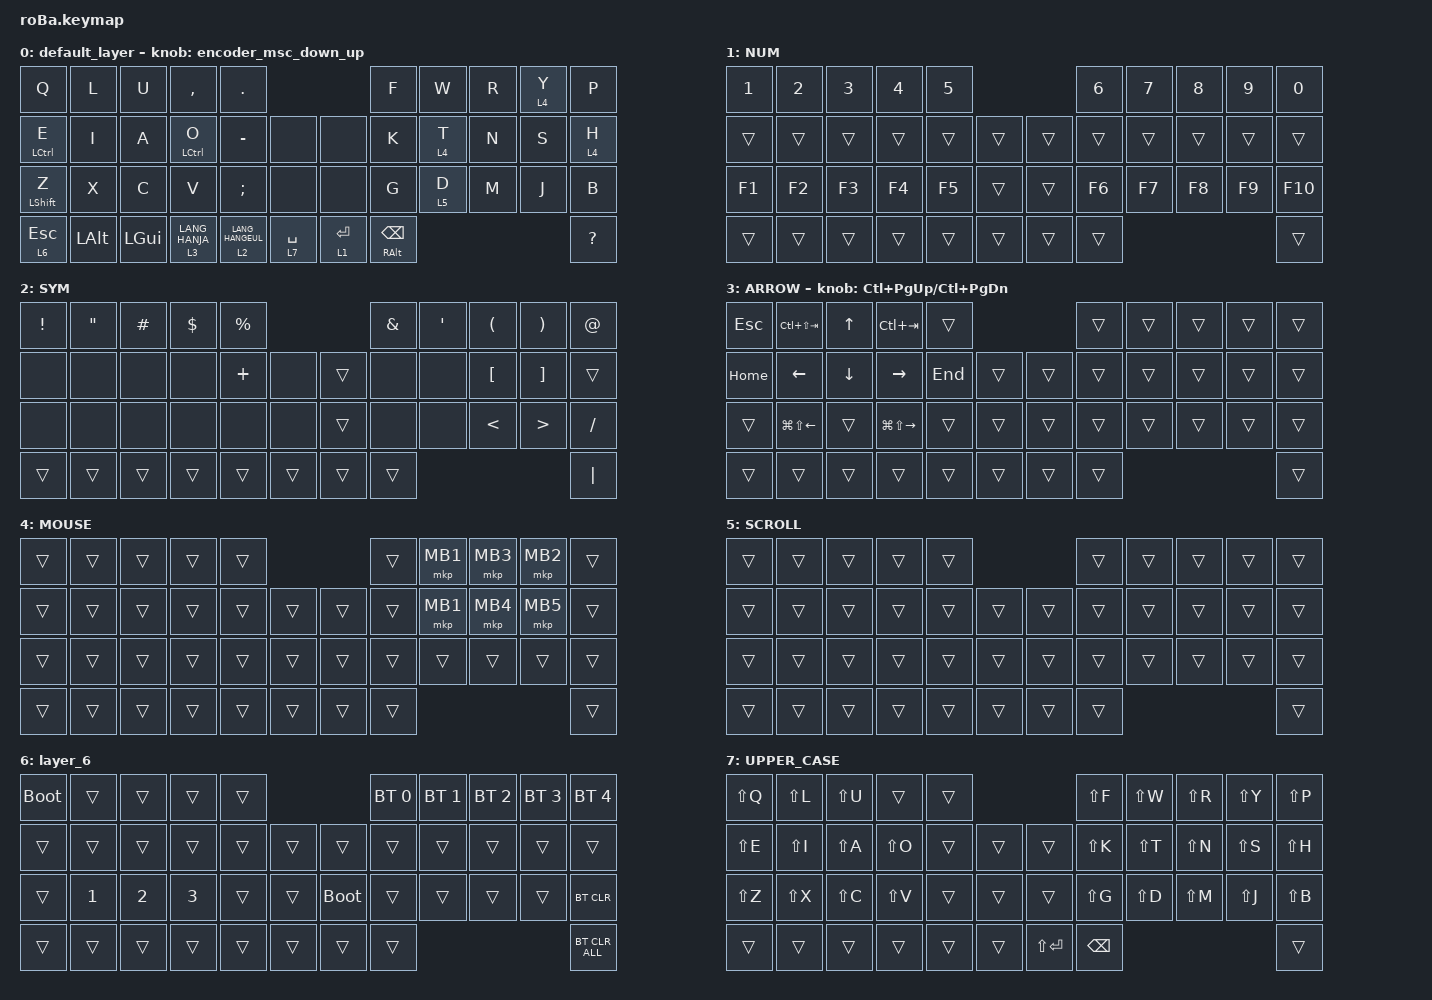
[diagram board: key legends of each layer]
#include <behaviors.dtsi>
#include <dt-bindings/zmk/bt.h>
#include <dt-bindings/zmk/keys.h>
#include <dt-bindings/zmk/pointing.h>

#define ZMK_POINTING_DEFAULT_SCRL_VAL 80
#define MOUSE 4
#define SCROLL 5
#define NUM 6

&mt {
    flavor = "balanced";
    quick-tap-ms = <0>;
};

/ {
    combos {
        compatible = "zmk,combos";

        tab {
            bindings = <&kp TAB>;
            key-positions = <11 12>;
        };

        shift_tab {
            bindings = <&kp LS(TAB)>;
            key-positions = <12 13>;
        };
    };

    macros {
        to_layer_0: to_layer_0 {
            compatible = "zmk,behavior-macro-one-param";
            #binding-cells = <1>;
            bindings = <&to 0 &macro_param_1to1 &kp MACRO_PLACEHOLDER>;
            label = "TO_LAYER_0";
        };

        to_layer_0_hold_modifier: to_layer_0_hold_modifier {
            compatible = "zmk,behavior-macro";
            #binding-cells = <0>;
            bindings = <&to 0>, <&macro_press>, <&kp LEFT_WIN>;

            label = "to_layer_0_hold_modifier";
        };
    };

    behaviors {
        lt_to_layer_0: lt_to_layer_0 {
            compatible = "zmk,behavior-hold-tap";
            label = "LAYER_TAP_TO_0";
            bindings = <&mo>, <&to_layer_0>;

            #binding-cells = <2>;
            tapping-term-ms = <200>;
        };

        encoder_msc_down_up: encoder_msc_down_up {
            compatible = "zmk,behavior-sensor-rotate";
            label = "ENCODER_MSC_DOWN_UP";
            #sensor-binding-cells = <0>;
            bindings = <&msc SCRL_DOWN>, <&msc SCRL_UP>;

            tap-ms = <20>;
        };
    };

    keymap {
        compatible = "zmk,keymap";

        default_layer {
            bindings = <
&kp Q               &kp L         &kp U         &kp COMMA                    &kp PERIOD                                                   &kp F                    &kp W    &kp R  &lt 4 Y  &kp P
&mt LEFT_CONTROL E  &kp I         &kp A         &mt LEFT_CONTROL O           &kp MINUS                      &none            &none        &kp K                    &lt 4 T  &kp N  &kp S    &lt 4 H
&mt LEFT_SHIFT Z    &kp X         &kp C         &kp V                        &kp SEMI                       &none            &none        &kp G                    &lt 5 D  &kp M  &kp J    &kp B
&lt 6 ESCAPE        &kp LEFT_ALT  &kp LEFT_GUI  &lt_to_layer_0 3 LANG_HANJA  &lt_to_layer_0 2 LANG_HANGEUL  &lt 7 SPACE      &lt 1 ENTER  &mt RIGHT_ALT BACKSPACE                           &kp QUESTION
            >;

            sensor-bindings = <&encoder_msc_down_up>;
        };

        NUM {
            bindings = <
&kp NUMBER_1  &kp NUMBER_2  &kp NUMBER_3  &kp NUMBER_4  &kp N5                      &kp NUMBER_6  &kp N7  &kp N8  &kp N9  &kp N0
&trans        &trans        &trans        &trans        &trans  &trans      &trans  &trans        &trans  &trans  &trans  &trans
&kp F1        &kp F2        &kp F3        &kp F4        &kp F5  &trans      &trans  &kp F6        &kp F7  &kp F8  &kp F9  &kp F10
&trans        &trans        &trans        &trans        &trans  &trans      &trans  &trans                                &trans
            >;
        };

        SYM {
            bindings = <
&kp EXCLAMATION  &kp DOUBLE_QUOTES  &kp HASH  &kp DOLLAR  &kp PERCENT                      &kp AMPERSAND  &kp SINGLE_QUOTE  &kp LEFT_PARENTHESIS  &kp RIGHT_PARENTHESIS  &kp AT_SIGN
&none            &none              &none     &none       &kp PLUS     &none       &trans  &none          &none             &kp LEFT_BRACKET      &kp RIGHT_BRACKET      &trans
&none            &none              &none     &none       &none        &none       &trans  &none          &none             &kp LESS_THAN         &kp GREATER_THAN       &kp SLASH
&trans           &trans             &trans    &trans      &trans       &trans      &trans  &trans                                                                        &kp PIPE
            >;
        };

        ARROW {
            bindings = <
&kp ESCAPE  &kp LC(LS(TAB))         &kp UP_ARROW    &kp LC(TAB)              &trans                       &trans  &trans  &trans  &trans  &trans
&kp HOME    &kp LEFT_ARROW          &kp DOWN_ARROW  &kp RIGHT_ARROW          &kp END  &trans      &trans  &trans  &trans  &trans  &trans  &trans
&trans      &kp LG(LS(LEFT_ARROW))  &trans          &kp LG(LS(RIGHT_ARROW))  &trans   &trans      &trans  &trans  &trans  &trans  &trans  &trans
&trans      &trans                  &trans          &trans                   &trans   &trans      &trans  &trans                          &trans
            >;

            sensor-bindings = <&inc_dec_kp LC(PAGE_UP) LC(PAGE_DOWN)>;
        };

        MOUSE {
            bindings = <
&trans  &trans  &trans  &trans  &trans                      &trans  &mkp MB1  &mkp MB3  &mkp MB2  &trans
&trans  &trans  &trans  &trans  &trans  &trans      &trans  &trans  &mkp MB1  &mkp MB4  &mkp MB5  &trans
&trans  &trans  &trans  &trans  &trans  &trans      &trans  &trans  &trans    &trans    &trans    &trans
&trans  &trans  &trans  &trans  &trans  &trans      &trans  &trans                                &trans
            >;
        };

        SCROLL {
            bindings = <
&trans  &trans  &trans  &trans  &trans                      &trans  &trans  &trans  &trans  &trans
&trans  &trans  &trans  &trans  &trans  &trans      &trans  &trans  &trans  &trans  &trans  &trans
&trans  &trans  &trans  &trans  &trans  &trans      &trans  &trans  &trans  &trans  &trans  &trans
&trans  &trans  &trans  &trans  &trans  &trans      &trans  &trans                          &trans
            >;
        };

        layer_6 {
            bindings = <
&bootloader  &trans        &trans        &trans        &trans                           &bt BT_SEL 0  &bt BT_SEL 1  &bt BT_SEL 2  &bt BT_SEL 3  &bt BT_SEL 4
&trans       &trans        &trans        &trans        &trans  &trans      &trans       &trans        &trans        &trans        &trans        &trans
&trans       &kp NUMBER_1  &kp NUMBER_2  &kp NUMBER_3  &trans  &trans      &bootloader  &trans        &trans        &trans        &trans        &bt BT_CLR
&trans       &trans        &trans        &trans        &trans  &trans      &trans       &trans                                                  &bt BT_CLR_ALL
            >;
        };

        UPPER_CASE {
            bindings = <
&kp LS(Q)  &kp LS(L)  &kp LS(U)  &trans     &trans                             &kp LS(F)      &kp LS(W)  &kp LS(R)  &kp LS(Y)  &kp LS(P)
&kp LS(E)  &kp LS(I)  &kp LS(A)  &kp LS(O)  &trans  &trans      &trans         &kp LS(K)      &kp LS(T)  &kp LS(N)  &kp LS(S)  &kp LS(H)
&kp LS(Z)  &kp LS(X)  &kp LS(C)  &kp LS(V)  &trans  &trans      &trans         &kp LS(G)      &kp LS(D)  &kp LS(M)  &kp LS(J)  &kp LS(B)
&trans     &trans     &trans     &trans     &trans  &trans      &kp LS(ENTER)  &kp BACKSPACE                                   &trans
            >;
        };
    };
};
